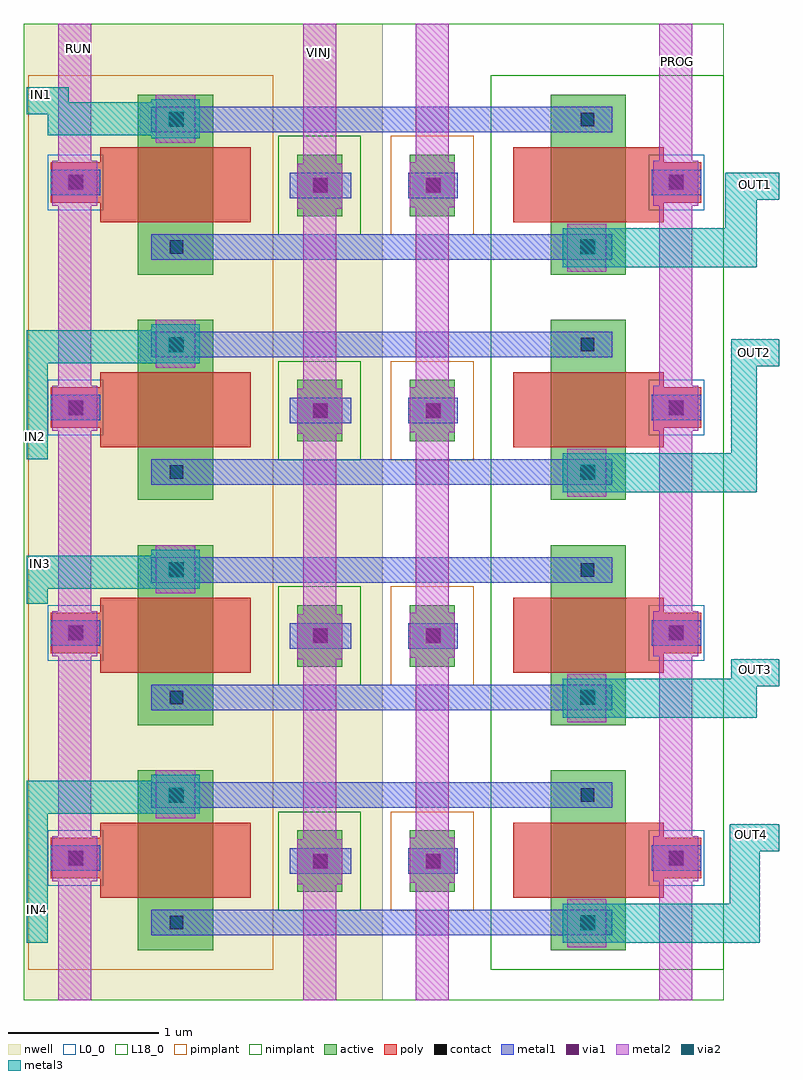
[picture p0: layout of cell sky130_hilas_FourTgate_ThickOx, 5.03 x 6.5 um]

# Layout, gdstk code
import gdstk
lib = gdstk.Library(unit=1e-6, precision=1e-09)
def R(c, l, rs):  # rectangles x0, y0, x1, y1
    for r in rs: c.add(gdstk.rectangle(r[:2], r[2:], *l))
def A(c, l, x, y, w, h, nx, ny, dx, dy):  # array of equal rectangles
    R(c, l, [(x+i*dx, y+j*dy, x+i*dx+w, y+j*dy+h) for i in range(nx) for j in range(ny)])
L0_0 = (0, 0)
nwell = (3, 0)
active = (6, 0)
poly = (17, 0)
L18_0 = (18, 0)
pimplant = (25, 0)
nimplant = (26, 0)
contact = (30, 0)
metal1 = (31, 0)
metal2 = (32, 0)
metal3 = (33, 0)
via1 = (51, 0)
via2 = (52, 0)

sky130_hilas_fourtgate_t = lib.new_cell('sky130_hilas_FourTgate_ThickOx')
A(sky130_hilas_fourtgate_t, L0_0, 0.16, 0.76, 0.37, 0.37, 1, 4, 0, 1.5)
A(sky130_hilas_fourtgate_t, L0_0, 4.16, 0.76, 0.37, 0.37, 1, 4, 0, 1.5)
R(sky130_hilas_fourtgate_t, nwell, [(0,0,2.39,6.5)])
A(sky130_hilas_fourtgate_t, active, 0.76, 0.33, 0.5, 1.2, 1, 4, 0, 1.5)
A(sky130_hilas_fourtgate_t, active, 3.51, 0.33, 0.5, 1.2, 1, 4, 0, 1.5)
A(sky130_hilas_fourtgate_t, active, 1.82, 0.72, 0.3, 0.41, 1, 4, 0, 1.5)
A(sky130_hilas_fourtgate_t, active, 2.57, 0.72, 0.3, 0.41, 1, 4, 0, 1.5)
A(sky130_hilas_fourtgate_t, poly, 0.51, 0.68, 1, 0.13, 1, 4, 0, 1.5)
A(sky130_hilas_fourtgate_t, poly, 3.26, 0.68, 1, 0.13, 1, 4, 0, 1.5)
A(sky130_hilas_fourtgate_t, poly, 0.18, 0.81, 1.33, 0.27, 1, 4, 0, 1.5)
A(sky130_hilas_fourtgate_t, poly, 3.26, 0.81, 1.25, 0.27, 1, 4, 0, 1.5)
A(sky130_hilas_fourtgate_t, poly, 0.51, 1.08, 1, 0.1, 1, 4, 0, 1.5)
A(sky130_hilas_fourtgate_t, poly, 3.26, 1.08, 1, 0.1, 1, 4, 0, 1.5)
R(sky130_hilas_fourtgate_t, L18_0, [(0,0,4.66,6.5)])
A(sky130_hilas_fourtgate_t, pimplant, 2.445, 0.595, 0.55, 0.66, 1, 4, 0, 1.5)
R(sky130_hilas_fourtgate_t, pimplant, [(0.03,0.2,1.66,6.16)])
A(sky130_hilas_fourtgate_t, nimplant, 1.695, 0.595, 0.55, 0.66, 1, 4, 0, 1.5)
R(sky130_hilas_fourtgate_t, nimplant, [(3.11,0.2,4.66,6.16)])
A(sky130_hilas_fourtgate_t, contact, 1.93, 0.88, 0.09, 0.09, 1, 4, 0, 1.5)
A(sky130_hilas_fourtgate_t, contact, 2.68, 0.88, 0.09, 0.09, 1, 4, 0, 1.5)
A(sky130_hilas_fourtgate_t, contact, 0.3, 0.9, 0.09, 0.09, 1, 4, 0, 1.5)
A(sky130_hilas_fourtgate_t, contact, 4.3, 0.9, 0.09, 0.09, 1, 4, 0, 1.5)
R(sky130_hilas_fourtgate_t, contact, [(0.97,0.47,1.06,0.56), (3.71,0.47,3.8,0.56), (0.97,1.32,1.06,1.41), (3.71,1.32,3.8,1.41), (0.97,1.97,1.06,2.06), (3.71,1.97,3.8,2.06), (0.97,2.82,1.06,2.91), (3.71,2.82,3.8,2.91), (0.97,3.47,1.06,3.56), (3.71,3.47,3.8,3.56), (0.97,4.32,1.06,4.41), (3.71,4.32,3.8,4.41), (0.97,4.97,1.06,5.06), (3.71,4.97,3.8,5.06), (0.97,5.82,1.06,5.91), (3.71,5.82,3.8,5.91)])
A(sky130_hilas_fourtgate_t, metal1, 1.77, 0.84, 0.41, 0.17, 1, 4, 0, 1.5)
A(sky130_hilas_fourtgate_t, metal1, 2.56, 0.84, 0.33, 0.17, 1, 4, 0, 1.5)
A(sky130_hilas_fourtgate_t, metal1, 0.18, 0.86, 0.33, 0.17, 1, 4, 0, 1.5)
A(sky130_hilas_fourtgate_t, metal1, 4.18, 0.86, 0.33, 0.17, 1, 4, 0, 1.5)
R(sky130_hilas_fourtgate_t, metal1, [(0.85,0.43,3.92,0.6), (0.85,1.28,3.92,1.45), (0.85,1.93,3.92,2.1), (0.85,2.78,3.92,2.95), (0.85,3.43,3.92,3.6), (0.85,4.28,3.92,4.45), (0.85,4.93,3.92,5.1), (0.85,5.78,3.92,5.95)])
A(sky130_hilas_fourtgate_t, metal2, 3.62, 0.35, 0.26, 0.32, 1, 4, 0, 1.5)
A(sky130_hilas_fourtgate_t, metal2, 1.82, 0.77, 0.3, 0.3, 1, 4, 0, 1.5)
A(sky130_hilas_fourtgate_t, metal2, 2.57, 0.78, 0.3, 0.3, 1, 4, 0, 1.5)
A(sky130_hilas_fourtgate_t, metal2, 0.19, 0.79, 0.3, 0.3, 1, 4, 0, 1.5)
A(sky130_hilas_fourtgate_t, metal2, 4.19, 0.79, 0.3, 0.3, 1, 4, 0, 1.5)
A(sky130_hilas_fourtgate_t, metal2, 1.86, 1.07, 0.22, 1.2, 1, 3, 0, 1.5)
A(sky130_hilas_fourtgate_t, metal2, 2.61, 1.08, 0.22, 1.2, 1, 3, 0, 1.5)
A(sky130_hilas_fourtgate_t, metal2, 0.23, 1.09, 0.22, 1.2, 1, 3, 0, 1.5)
A(sky130_hilas_fourtgate_t, metal2, 4.23, 1.09, 0.22, 1.2, 1, 3, 0, 1.5)
A(sky130_hilas_fourtgate_t, metal2, 0.88, 1.21, 0.26, 0.32, 1, 4, 0, 1.5)
R(sky130_hilas_fourtgate_t, metal2, [(0.23,0,0.45,0.79), (1.86,0,2.08,0.77), (2.61,0,2.83,0.78), (4.23,0,4.45,0.79), (1.86,5.57,2.08,6.5), (2.61,5.58,2.83,6.5), (0.23,5.59,0.45,6.5), (4.23,5.59,4.45,6.5), (1.86,6.27,2.08,6.5), (4.23,6.295,4.45,6.5), (0.23,6.31,0.45,6.5)])
A(sky130_hilas_fourtgate_t, metal3, 0.85, 1.46, 0.32, 0.04, 1, 3, 0, 1.5)
R(sky130_hilas_fourtgate_t, metal3, [(0.02,0.38,0.16,1.24), (0.02,0.38,0.16,0.585), (3.59,0.38,4.9,0.64), (4.7,0.64,4.9,0.99), (4.7,0.99,5.03,1.17), (4.835,0.99,5.03,1.17), (0.02,1.24,1.17,1.46), (3.59,1.88,4.88,2.09), (3.59,2.09,5.03,2.14), (4.865,2.09,5.03,2.27), (4.71,2.14,5.03,2.27), (0.02,2.64,0.16,2.74), (0.02,2.74,1.17,2.96), (0.02,2.74,0.185,2.96), (3.59,3.38,4.88,3.64), (0.02,3.6,0.16,4.24), (0.02,3.6,0.16,3.75), (4.71,3.64,4.88,4.22), (4.71,4.22,5.03,4.4), (4.85,4.22,5.025,4.4), (0.02,4.24,1.17,4.43), (0.02,4.43,1.17,4.46), (3.59,4.88,4.88,5.14), (4.67,5.14,4.88,5.33), (4.67,5.33,5.03,5.51), (4.86,5.33,5.03,5.51), (0.85,5.74,1.17,5.76), (0.16,5.76,1.17,5.9), (0.02,5.9,1.17,5.98), (0.02,5.9,0.205,6.08), (0.02,5.98,0.3,6.08), (0.85,5.98,1.17,6)])
A(sky130_hilas_fourtgate_t, via1, 3.705, 0.465, 0.1, 0.1, 1, 4, 0, 1.5)
A(sky130_hilas_fourtgate_t, via1, 1.925, 0.875, 0.1, 0.1, 1, 4, 0, 1.5)
A(sky130_hilas_fourtgate_t, via1, 2.675, 0.875, 0.1, 0.1, 1, 4, 0, 1.5)
A(sky130_hilas_fourtgate_t, via1, 0.295, 0.895, 0.1, 0.1, 1, 4, 0, 1.5)
A(sky130_hilas_fourtgate_t, via1, 4.295, 0.895, 0.1, 0.1, 1, 4, 0, 1.5)
A(sky130_hilas_fourtgate_t, via1, 0.965, 1.315, 0.1, 0.1, 1, 4, 0, 1.5)
A(sky130_hilas_fourtgate_t, via2, 3.705, 0.465, 0.1, 0.1, 1, 4, 0, 1.5)
A(sky130_hilas_fourtgate_t, via2, 0.965, 1.315, 0.1, 0.1, 1, 4, 0, 1.5)
sky130_hilas_fourtgate_t.add(gdstk.Label('PROG', (4.355,6.25), layer=32, texttype=0))
sky130_hilas_fourtgate_t.add(gdstk.Label('RUN', (0.365,6.34), layer=32, texttype=0))
sky130_hilas_fourtgate_t.add(gdstk.Label('VINJ', (1.97,6.31), layer=32, texttype=0))
sky130_hilas_fourtgate_t.add(gdstk.Label('IN1', (0.115,6.03), layer=33, texttype=0))
sky130_hilas_fourtgate_t.add(gdstk.Label('IN2', (0.08,3.755), layer=33, texttype=0))
sky130_hilas_fourtgate_t.add(gdstk.Label('IN3', (0.11,2.905), layer=33, texttype=0))
sky130_hilas_fourtgate_t.add(gdstk.Label('IN4', (0.09,0.6), layer=33, texttype=0))
sky130_hilas_fourtgate_t.add(gdstk.Label('OUT1', (4.87,5.43), layer=33, texttype=0))
sky130_hilas_fourtgate_t.add(gdstk.Label('OUT2', (4.865,4.31), layer=33, texttype=0))
sky130_hilas_fourtgate_t.add(gdstk.Label('OUT3', (4.875,2.2), layer=33, texttype=0))
sky130_hilas_fourtgate_t.add(gdstk.Label('OUT4', (4.845,1.105), layer=33, texttype=0))

lib.write_gds('sky130_hilas_FourTgate_ThickOx.gds')
